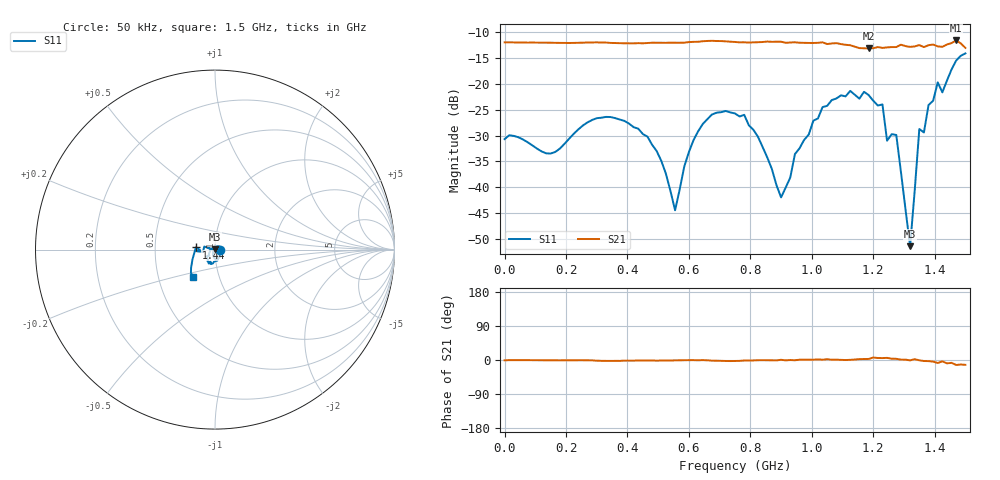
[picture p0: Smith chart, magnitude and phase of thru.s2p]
! Created with skrf 1.8.0 (http://scikit-rf.org).
# Hz S RI R 50.0
!freq ReS11 ImS11 ReS21 ImS21 ReS12 ImS12 ReS22 ImS22
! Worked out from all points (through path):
!   101 points, 50 kHz to 1.5 GHz, reference 50 ohm
!   highest |S21| = -11.64 dB at 1.47 GHz (marker M1); lowest = -13.2 dB at 1.185 GHz (marker M2)
!   lowest |S11| = -51.4 dB at 1.32 GHz (marker M3), VSWR 1.01, Z = 49.8 + j0.169 ohm
!   |S11| at or under -10 dB: start of sweep to end of sweep
!   S12 and S22 are empty: the file has one direction only
!   S11 on the Smith chart (normalised r, x): 50 kHz: 1.06, +0.00; 1.44 GHz: 0.81, +0.02; 1.5 GHz: 0.75, -0.24
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50000  0.0292 0.000252  0.2507 -0.00376  0 0  0 0
1.50045e8  0.0207 -0.0046  0.2487 -0.0035  0 0  0 0
2.550415e8  0.0322 -0.023  0.2491 -0.00275  0 0  0 0
3.90037e8  0.0438 -0.000606  0.2456 -0.0069  0 0  0 0
5.10033e8  0.00778 0.0163  0.2485 -0.00639  0 0  0 0
5.550315e8  -0.00535 0.00272  0.2486 -0.00418  0 0  0 0
6.30029e8  -0.0107 -0.0331  0.2541 -0.00291  0 0  0 0
7.50025e8  0.0215 -0.0469  0.2527 -0.0114  0 0  0 0
8.250225e8  0.0272 -0.0142  0.2516 -0.00251  0 0  0 0
9.0002e8  0.0038 0.00704  0.2545 0.00235  0 0  0 0
1.005016e9  -0.035 -0.0266  0.2475 0.00408  0 0  0 0
1.18501e9  -0.0118 -0.0768  0.2189 0.0106  0 0  0 0
1.230009e9  0.0133 -0.0617  0.2209 0.0196  0 0  0 0
1.245008e9  0.0126 -0.0252  0.2231 0.0219  0 0  0 0
1.260008e9  0.0179 -0.0272  0.2255 0.0132  0 0  0 0
1.275008e9  0.017 -0.0271  0.2257 0.0126  0 0  0 0
1.320006e9  -0.0021 0.0017  0.2269 -0.00379  0 0  0 0
1.350005e9  -0.0355 0.00874  0.236 -0.0037  0 0  0 0
1.410003e9  -0.1026 -0.00903  0.2272 -0.0317  0 0  0 0
1.440002e9  -0.1066 0.0122  0.2362 -0.0369  0 0  0 0
1.470001e9  -0.1333 -0.1017  0.2548 -0.0594  0 0  0 0
1.5e9  -0.1202 -0.1552  0.2165 -0.0488  0 0  0 0
